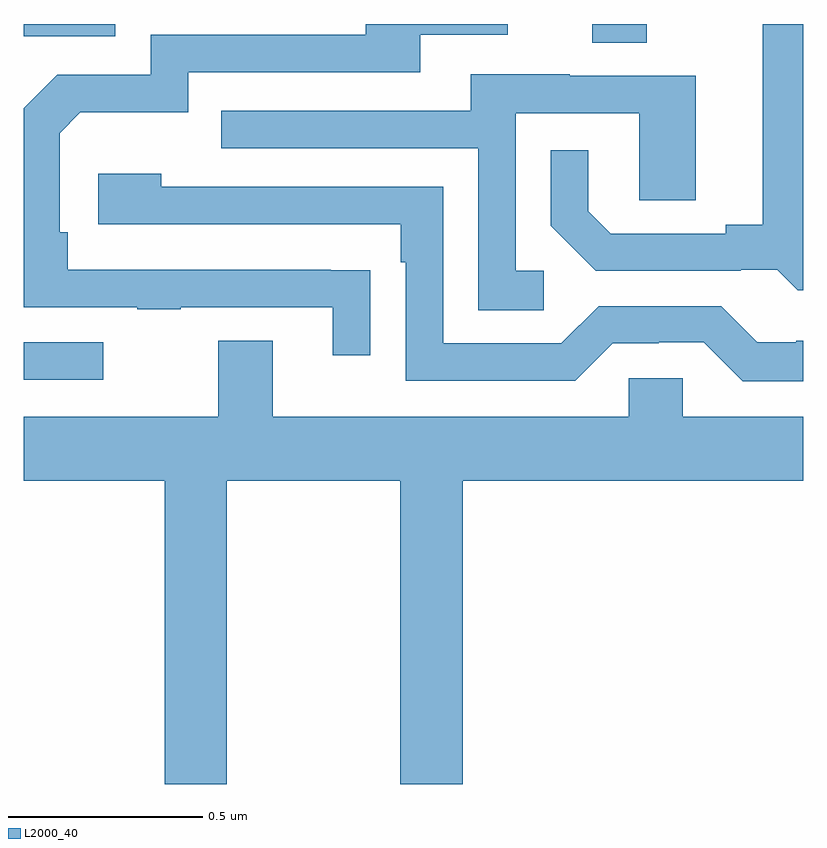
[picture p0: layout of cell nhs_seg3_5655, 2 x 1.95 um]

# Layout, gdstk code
import gdstk
lib = gdstk.Library(unit=1e-6, precision=1e-09)
def R(c, l, rs):  # rectangles x0, y0, x1, y1
    for r in rs: c.add(gdstk.rectangle(r[:2], r[2:], *l))
def P(c, l, *ps):  # polygons
    for p in ps: c.add(gdstk.Polygon(p, *l))
L2000_40 = (2000, 40)

nhs_seg3_5655 = lib.new_cell('nhs_seg3_5655')
R(nhs_seg3_5655, L2000_40, [(181,722.487,181.204,722.583), (182.459,723.352,182.599,723.4), (181,723.369,181.234,723.4)])
P(nhs_seg3_5655, L2000_40, [(183,723.4),(182.897,723.4),(182.897,722.885),(182.801,722.885),(182.801,722.862),(182.506,722.862),(182.449,722.919),(182.449,723.076),(182.352,723.076),(182.352,722.882),(182.468,722.766),(182.84,722.766),(182.84,722.769),(182.934,722.769),(182.986,722.717),(183,722.717)],
  [(181.889,722.768),(181.787,722.768),(181.787,722.769),(181.112,722.769),(181.112,722.866),(181.092,722.866),(181.092,723.12),(181.145,723.173),(181.422,723.173),(181.422,723.276),(182.017,723.276),(182.017,723.372),(182.242,723.372),(182.242,723.4),(181.877,723.4),(181.877,723.372),(181.326,723.372),(181.326,723.27),(181.086,723.27),(181,723.184),(181,722.673),(181.291,722.673),(181.291,722.668),(181.403,722.668),(181.403,722.673),(181.793,722.673),(181.793,722.55),(181.889,722.55)],
  [(182.335,722.766),(182.262,722.766),(182.262,723.171),(182.58,723.171),(182.58,722.947),(182.725,722.947),(182.725,723.267),(182.401,723.267),(182.401,723.271),(182.147,723.271),(182.147,723.177),(181.507,723.177),(181.507,723.081),(182.166,723.081),(182.166,722.665),(182.335,722.665)],
  [(183,722.587),(182.983,722.587),(182.983,722.583),(182.883,722.583),(182.79,722.676),(182.475,722.676),(182.379,722.58),(182.076,722.58),(182.076,722.982),(181.352,722.982),(181.352,723.016),(181.191,723.016),(181.191,722.886),(181.967,722.886),(181.967,722.789),(181.98,722.789),(181.98,722.484),(182.415,722.484),(182.511,722.58),(182.63,722.58),(182.63,722.583),(182.745,722.583),(182.845,722.483),(183,722.483)],
  [(181.521,722.228),(181.966,722.228),(181.966,721.449),(182.126,721.449),(182.126,722.228),(183,722.228),(183,722.392),(182.691,722.392),(182.691,722.49),(182.553,722.49),(182.553,722.392),(181.639,722.392),(181.639,722.587),(181.499,722.587),(181.499,722.392),(181,722.392),(181,722.228),(181.361,722.228),(181.361,721.449),(181.521,721.449)])

lib.write_gds('nhs_seg3_5655.gds')
